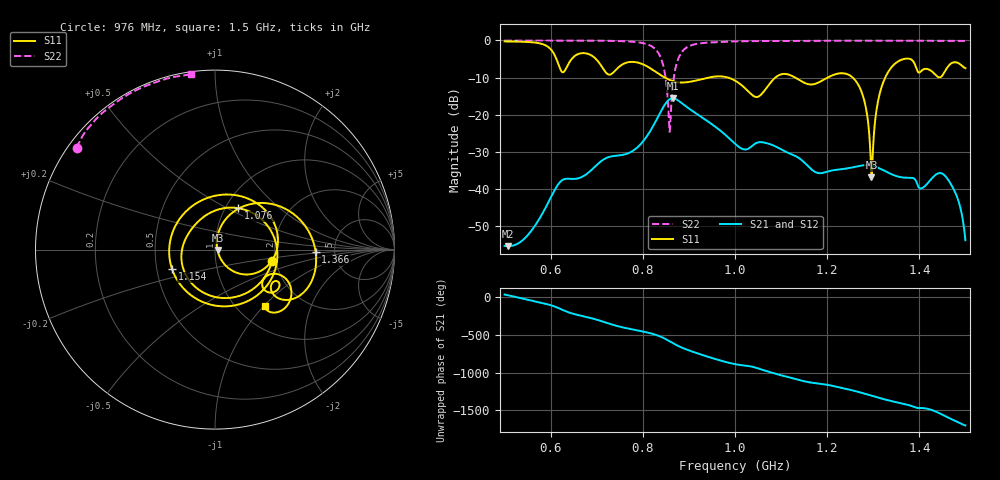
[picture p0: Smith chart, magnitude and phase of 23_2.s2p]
! TOUCHSTONE file generated by CST MICROWAVE STUDIO
! Date and time: Thu Feb 11 19:34:00 2021
! Project name: Scenario_1_Planar_Body_Tissue_Out_of_Line.cst
! Parameters = {L_HA=400; Ltissue=1000; MT=2.54; Rad_Dielectric=30; Rad_Lower=7.3; Rad_Upper=30; Wtissue=1000; a_HA=580; a_WG=246; b_HA=500; b_WG=121; c_HA=0; c_WG=187; d_feed=85; dx1=346; dy1=34.6; h_feed=15; h_lower=18; h_upper=40; hfat=3; hgap=25; hmuscle=50; hskin=1.5}
! Header version: 2018
! Port assignment regex: !\s*Touchstone port\s*([0-9]+)\s*=\s*(CST MWS port|CST DS port)\s*([0-9]+|Zmin|Zmax)\s*\(\"(.*)\"\)(\s*mode\s*([0-9]+))?.*
! Touchstone port assignment:
! Touchstone port 1 = CST MWS port 1 ("")
! Touchstone port 2 = CST MWS port 2 ("")
# GHz S DB R 50
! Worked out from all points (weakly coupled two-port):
!   1003 points, 500 MHz to 1.5 GHz, reference 50 ohm
!   highest |S21| = -15.61 dB at 865 MHz (marker M1); lowest = -55.5 dB at 508 MHz (marker M2)
!   lowest |S11| = -36.9 dB at 1.296 GHz (marker M3), VSWR 1.03, Z = 51.4 - j0.265 ohm
!   |S11| at or under -10 dB: 847.7 MHz to 943 MHz (95.36 MHz wide, 10.7 % of centre); 984.2 MHz to 1.088 GHz (103.6 MHz wide, 10 % of centre); 1.13 GHz to 1.201 GHz (70.88 MHz wide, 6.08 % of centre)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
!   |S22| runs from -24.7 to 0.0 dB; largest |S21 - S12| = 4.8e-06
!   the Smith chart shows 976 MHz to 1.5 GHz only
!   S11 on the Smith chart (normalised r, x): 976 MHz: 1.91, -0.27; 1.076 GHz: 1.15, +0.57; 1.154 GHz: 0.60, -0.14; 1.366 GHz: 3.55, -0.14; 1.5 GHz: 1.32, -1.02
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0.5  -0.27 -121.5  -55.41 35.8  -55.41 35.8  -0.01 151.1
0.508  -0.28 -124.8  -55.48 25.7  -55.48 25.7  -0.01 150.6
0.667  -3.45 155.0  -36.86 112.4  -36.86 112.4  -0.04 138.4
0.716  -8.03 22.3  -32.01 31.0  -32.01 31.0  -0.09 132.8
0.739  -8.26 -95.6  -31.13 -13.3  -31.13 -13.3  -0.14 129.4
0.767  -5.91 177.1  -30.48 -54.7  -30.48 -54.7  -0.26 123.7
0.8  -6.43 103.4  -27.30 -94.9  -27.30 -94.9  -0.72 112.5
0.834  -8.97 24.0  -20.37 -152.5  -20.37 -152.5  -3.46 84.3
0.857  -10.58 -41.3  -15.97 138.8  -15.97 138.8  -22.70 -3.8
0.865  -10.97 -66.9  -15.61 110.8  -15.61 110.8  -12.20 -135.3
0.896  -11.26 -168.8  -18.01 23.4  -18.01 23.4  -1.83 171.6
0.976  -9.78 -11.2  -25.12 -133.6  -25.12 -133.6  -0.38 143.6
1  -10.83 -66.6  -27.85 -168.5  -27.85 -168.5  -0.27 140.2
1.076  -11.54 60.6  -27.99 84.8  -27.99 84.8  -0.13 131.9
1.154  -11.61 -155.4  -33.34 -41.4  -33.34 -41.4  -0.11 125.2
1.167  -11.88 162.7  -34.88 -55.6  -34.88 -55.6  -0.10 124.2
1.26  -10.60 -20.9  -34.09 -165.1  -34.09 -165.1  -0.08 117.1
1.296  -36.86 -10.3  -33.74 132.3  -33.74 132.3  -0.08 114.3
1.334  -8.19 41.5  -35.76 68.5  -35.77 68.5  -0.09 111.5
1.366  -5.02 -1.4  -36.98 23.9  -36.98 23.9  -0.09 109.1
1.455  -8.46 -21.3  -36.41 -136.4  -36.41 -136.4  -0.11 101.8
1.5  -7.50 -48.7  -53.88 96.8  -53.88 96.8  -0.13 97.9
